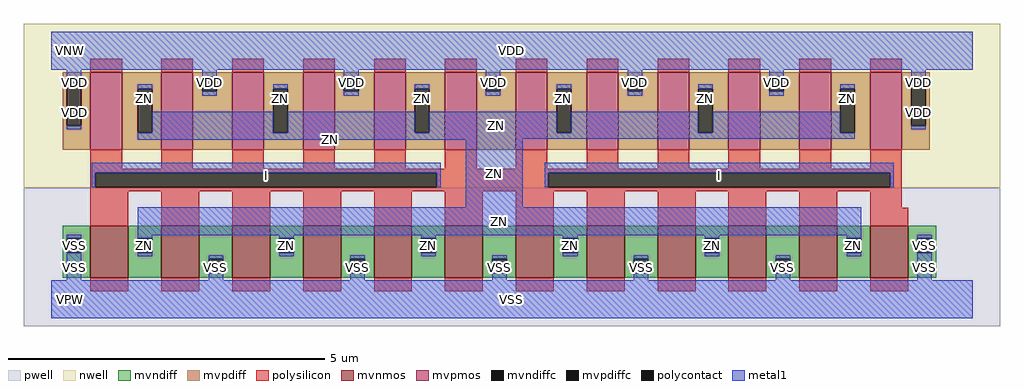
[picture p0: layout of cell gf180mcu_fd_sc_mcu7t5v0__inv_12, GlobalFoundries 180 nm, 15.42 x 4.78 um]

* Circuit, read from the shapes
.subckt gf180mcu_fd_sc_mcu7t5v0__inv_12 I ZN VDD VNW VPW VSS
XM1 ZN I VSS VPW nfet_06v0 w=0.82u l=0.6u m=12
XM2 ZN I VDD VNW pfet_06v0 w=1.22u l=0.5u m=12
.ends

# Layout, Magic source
magic
tech gf180mcuD
magscale 1 10
<< nwell >>
rect -86 352 2998 870
<< pwell >>
rect -86 -86 2998 352
<< mvnmos >>
rect 124 68 244 232
rect 348 68 468 232
rect 572 68 692 232
rect 796 68 916 232
rect 1020 68 1140 232
rect 1244 68 1364 232
rect 1468 68 1588 232
rect 1692 68 1812 232
rect 1916 68 2036 232
rect 2140 68 2260 232
rect 2364 68 2484 232
rect 2588 68 2708 232
<< mvpmos >>
rect 124 472 224 716
rect 348 472 448 716
rect 572 472 672 716
rect 796 472 896 716
rect 1020 472 1120 716
rect 1244 472 1344 716
rect 1468 472 1568 716
rect 1692 472 1792 716
rect 1916 472 2016 716
rect 2140 472 2240 716
rect 2364 472 2464 716
rect 2588 472 2688 716
<< mvndiff >>
rect 36 192 124 232
rect 36 146 49 192
rect 95 146 124 192
rect 36 68 124 146
rect 244 192 348 232
rect 244 146 273 192
rect 319 146 348 192
rect 244 68 348 146
rect 468 127 572 232
rect 468 81 497 127
rect 543 81 572 127
rect 468 68 572 81
rect 692 192 796 232
rect 692 146 721 192
rect 767 146 796 192
rect 692 68 796 146
rect 916 127 1020 232
rect 916 81 945 127
rect 991 81 1020 127
rect 916 68 1020 81
rect 1140 192 1244 232
rect 1140 146 1169 192
rect 1215 146 1244 192
rect 1140 68 1244 146
rect 1364 127 1468 232
rect 1364 81 1393 127
rect 1439 81 1468 127
rect 1364 68 1468 81
rect 1588 192 1692 232
rect 1588 146 1617 192
rect 1663 146 1692 192
rect 1588 68 1692 146
rect 1812 127 1916 232
rect 1812 81 1841 127
rect 1887 81 1916 127
rect 1812 68 1916 81
rect 2036 192 2140 232
rect 2036 146 2065 192
rect 2111 146 2140 192
rect 2036 68 2140 146
rect 2260 127 2364 232
rect 2260 81 2289 127
rect 2335 81 2364 127
rect 2260 68 2364 81
rect 2484 192 2588 232
rect 2484 146 2513 192
rect 2559 146 2588 192
rect 2484 68 2588 146
rect 2708 192 2796 232
rect 2708 146 2737 192
rect 2783 146 2796 192
rect 2708 68 2796 146
<< mvpdiff >>
rect 36 687 124 716
rect 36 547 49 687
rect 95 547 124 687
rect 36 472 124 547
rect 224 665 348 716
rect 224 525 273 665
rect 319 525 348 665
rect 224 472 348 525
rect 448 703 572 716
rect 448 657 477 703
rect 523 657 572 703
rect 448 472 572 657
rect 672 665 796 716
rect 672 525 701 665
rect 747 525 796 665
rect 672 472 796 525
rect 896 703 1020 716
rect 896 657 925 703
rect 971 657 1020 703
rect 896 472 1020 657
rect 1120 665 1244 716
rect 1120 525 1149 665
rect 1195 525 1244 665
rect 1120 472 1244 525
rect 1344 703 1468 716
rect 1344 657 1373 703
rect 1419 657 1468 703
rect 1344 472 1468 657
rect 1568 665 1692 716
rect 1568 525 1597 665
rect 1643 525 1692 665
rect 1568 472 1692 525
rect 1792 703 1916 716
rect 1792 657 1821 703
rect 1867 657 1916 703
rect 1792 472 1916 657
rect 2016 665 2140 716
rect 2016 525 2045 665
rect 2091 525 2140 665
rect 2016 472 2140 525
rect 2240 703 2364 716
rect 2240 657 2269 703
rect 2315 657 2364 703
rect 2240 472 2364 657
rect 2464 665 2588 716
rect 2464 525 2493 665
rect 2539 525 2588 665
rect 2464 472 2588 525
rect 2688 687 2776 716
rect 2688 547 2717 687
rect 2763 547 2776 687
rect 2688 472 2776 547
<< mvndiffc >>
rect 49 146 95 192
rect 273 146 319 192
rect 497 81 543 127
rect 721 146 767 192
rect 945 81 991 127
rect 1169 146 1215 192
rect 1393 81 1439 127
rect 1617 146 1663 192
rect 1841 81 1887 127
rect 2065 146 2111 192
rect 2289 81 2335 127
rect 2513 146 2559 192
rect 2737 146 2783 192
<< mvpdiffc >>
rect 49 547 95 687
rect 273 525 319 665
rect 477 657 523 703
rect 701 525 747 665
rect 925 657 971 703
rect 1149 525 1195 665
rect 1373 657 1419 703
rect 1597 525 1643 665
rect 1821 657 1867 703
rect 2045 525 2091 665
rect 2269 657 2315 703
rect 2493 525 2539 665
rect 2717 547 2763 687
<< polysilicon >>
rect 124 716 224 760
rect 348 716 448 760
rect 572 716 672 760
rect 796 716 896 760
rect 1020 716 1120 760
rect 1244 716 1344 760
rect 1468 716 1568 760
rect 1692 716 1792 760
rect 1916 716 2016 760
rect 2140 716 2240 760
rect 2364 716 2464 760
rect 2588 716 2688 760
rect 124 412 224 472
rect 348 412 448 472
rect 572 412 672 472
rect 796 412 896 472
rect 1020 412 1120 472
rect 1244 412 1344 472
rect 1468 412 1568 472
rect 1692 412 1792 472
rect 1916 412 2016 472
rect 2140 412 2240 472
rect 2364 412 2464 472
rect 2588 412 2688 472
rect 124 399 2688 412
rect 124 353 139 399
rect 1219 353 1571 399
rect 2651 353 2688 399
rect 124 340 2688 353
rect 124 232 244 340
rect 348 232 468 340
rect 572 232 692 340
rect 796 232 916 340
rect 1020 232 1140 340
rect 1244 232 1364 340
rect 1468 232 1588 340
rect 1692 232 1812 340
rect 1916 232 2036 340
rect 2140 232 2260 340
rect 2364 232 2484 340
rect 2588 288 2688 340
rect 2588 232 2708 288
rect 124 24 244 68
rect 348 24 468 68
rect 572 24 692 68
rect 796 24 916 68
rect 1020 24 1140 68
rect 1244 24 1364 68
rect 1468 24 1588 68
rect 1692 24 1812 68
rect 1916 24 2036 68
rect 2140 24 2260 68
rect 2364 24 2484 68
rect 2588 24 2708 68
<< polycontact >>
rect 139 353 1219 399
rect 1571 353 2651 399
<< metal1 >>
rect 0 724 2912 844
rect 49 687 95 724
rect 477 703 523 724
rect 49 536 95 547
rect 273 665 319 678
rect 925 703 971 724
rect 477 642 523 657
rect 701 665 747 678
rect 319 525 701 592
rect 1373 703 1419 724
rect 925 642 971 657
rect 1149 665 1195 678
rect 747 525 1149 592
rect 1821 703 1867 724
rect 1373 642 1419 657
rect 1597 665 1643 678
rect 1195 525 1597 592
rect 2269 703 2315 724
rect 1821 642 1867 657
rect 2045 665 2091 678
rect 1643 525 2045 592
rect 2717 687 2763 724
rect 2269 642 2315 657
rect 2493 665 2539 678
rect 2091 525 2493 592
rect 2717 536 2763 547
rect 273 507 2539 525
rect 273 504 1490 507
rect 128 399 1231 430
rect 128 353 139 399
rect 1219 353 1231 399
rect 1310 290 1490 504
rect 1560 399 2662 430
rect 1560 353 1571 399
rect 2651 353 2662 399
rect 49 192 95 203
rect 49 60 95 146
rect 273 202 2559 290
rect 273 192 319 202
rect 273 135 319 146
rect 721 192 767 202
rect 497 127 543 138
rect 721 135 767 146
rect 1169 192 1215 202
rect 497 60 543 81
rect 945 127 991 138
rect 1169 135 1215 146
rect 1617 192 1663 202
rect 945 60 991 81
rect 1393 127 1439 138
rect 1617 135 1663 146
rect 2065 192 2111 202
rect 1393 60 1439 81
rect 1841 127 1887 138
rect 2065 135 2111 146
rect 2513 192 2559 202
rect 1841 60 1887 81
rect 2289 127 2335 138
rect 2513 135 2559 146
rect 2737 192 2783 203
rect 2289 60 2335 81
rect 2737 60 2783 146
rect 0 -60 2912 60
<< labels >>
flabel metal1 s 2737 138 2783 203 0 FreeSans 400 0 0 0 VSS
port 6 nsew ground bidirectional abutment
flabel metal1 s 2493 592 2539 678 0 FreeSans 400 0 0 0 ZN
port 2 nsew default output
flabel metal1 s 128 353 1231 430 0 FreeSans 400 0 0 0 I
port 1 nsew default input
flabel metal1 s 0 724 2912 844 0 FreeSans 400 0 0 0 VDD
port 3 nsew power bidirectional abutment
flabel nwell s 10 734 110 834 0 FreeSans 400 0 0 0 VNW
port 4 nsew power bidirectional
flabel pwell s 10 -50 110 50 0 FreeSans 400 0 0 0 VPW
port 5 nsew ground bidirectional
rlabel metal1 s 1560 353 2662 430 1 I
port 1 nsew default input
rlabel metal1 s 2045 592 2091 678 1 ZN
port 2 nsew default output
rlabel metal1 s 1597 592 1643 678 1 ZN
port 2 nsew default output
rlabel metal1 s 1149 592 1195 678 1 ZN
port 2 nsew default output
rlabel metal1 s 701 592 747 678 1 ZN
port 2 nsew default output
rlabel metal1 s 273 592 319 678 1 ZN
port 2 nsew default output
rlabel metal1 s 273 507 2539 592 1 ZN
port 2 nsew default output
rlabel metal1 s 273 504 1490 507 1 ZN
port 2 nsew default output
rlabel metal1 s 1310 290 1490 504 1 ZN
port 2 nsew default output
rlabel metal1 s 273 202 2559 290 1 ZN
port 2 nsew default output
rlabel metal1 s 2513 135 2559 202 1 ZN
port 2 nsew default output
rlabel metal1 s 2065 135 2111 202 1 ZN
port 2 nsew default output
rlabel metal1 s 1617 135 1663 202 1 ZN
port 2 nsew default output
rlabel metal1 s 1169 135 1215 202 1 ZN
port 2 nsew default output
rlabel metal1 s 721 135 767 202 1 ZN
port 2 nsew default output
rlabel metal1 s 273 135 319 202 1 ZN
port 2 nsew default output
rlabel metal1 s 2717 642 2763 724 1 VDD
port 3 nsew power bidirectional abutment
rlabel metal1 s 2269 642 2315 724 1 VDD
port 3 nsew power bidirectional abutment
rlabel metal1 s 1821 642 1867 724 1 VDD
port 3 nsew power bidirectional abutment
rlabel metal1 s 1373 642 1419 724 1 VDD
port 3 nsew power bidirectional abutment
rlabel metal1 s 925 642 971 724 1 VDD
port 3 nsew power bidirectional abutment
rlabel metal1 s 477 642 523 724 1 VDD
port 3 nsew power bidirectional abutment
rlabel metal1 s 49 642 95 724 1 VDD
port 3 nsew power bidirectional abutment
rlabel metal1 s 2717 536 2763 642 1 VDD
port 3 nsew power bidirectional abutment
rlabel metal1 s 49 536 95 642 1 VDD
port 3 nsew power bidirectional abutment
rlabel metal1 s 49 138 95 203 1 VSS
port 6 nsew ground bidirectional abutment
rlabel metal1 s 2737 60 2783 138 1 VSS
port 6 nsew ground bidirectional abutment
rlabel metal1 s 2289 60 2335 138 1 VSS
port 6 nsew ground bidirectional abutment
rlabel metal1 s 1841 60 1887 138 1 VSS
port 6 nsew ground bidirectional abutment
rlabel metal1 s 1393 60 1439 138 1 VSS
port 6 nsew ground bidirectional abutment
rlabel metal1 s 945 60 991 138 1 VSS
port 6 nsew ground bidirectional abutment
rlabel metal1 s 497 60 543 138 1 VSS
port 6 nsew ground bidirectional abutment
rlabel metal1 s 49 60 95 138 1 VSS
port 6 nsew ground bidirectional abutment
rlabel metal1 s 0 -60 2912 60 1 VSS
port 6 nsew ground bidirectional abutment
<< properties >>
string FIXED_BBOX 0 0 2912 784
string GDS_END 497848
string GDS_FILE $PDKPATH/libs.ref/gf180mcu_fd_sc_mcu7t5v0/gds/gf180mcu_fd_sc_mcu7t5v0.gds
string GDS_START 490916
string LEFclass core
string LEFsite GF018hv5v_mcu_sc7
string LEFsymmetry X Y
<< end >>
